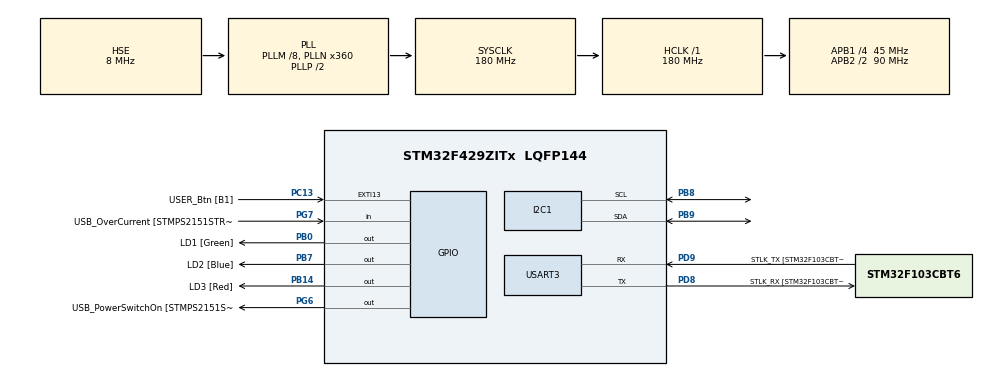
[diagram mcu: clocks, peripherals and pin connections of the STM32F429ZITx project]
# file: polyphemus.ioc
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Dma.I2C1_RX.2.Direction=DMA_PERIPH_TO_MEMORY
Dma.I2C1_RX.2.FIFOMode=DMA_FIFOMODE_DISABLE
Dma.I2C1_RX.2.Instance=DMA1_Stream0
Dma.I2C1_RX.2.MemDataAlignment=DMA_MDATAALIGN_BYTE
Dma.I2C1_RX.2.MemInc=DMA_MINC_ENABLE
Dma.I2C1_RX.2.Mode=DMA_NORMAL
Dma.I2C1_RX.2.PeriphDataAlignment=DMA_PDATAALIGN_BYTE
Dma.I2C1_RX.2.PeriphInc=DMA_PINC_DISABLE
Dma.I2C1_RX.2.Priority=DMA_PRIORITY_LOW
Dma.Request0=USART3_RX
Dma.Request1=USART3_TX
Dma.Request2=I2C1_RX
Dma.USART3_RX.0.Direction=DMA_PERIPH_TO_MEMORY
Dma.USART3_RX.0.FIFOMode=DMA_FIFOMODE_DISABLE
Dma.USART3_RX.0.Instance=DMA1_Stream1
Dma.USART3_RX.0.MemDataAlignment=DMA_MDATAALIGN_BYTE
Dma.USART3_RX.0.MemInc=DMA_MINC_ENABLE
Dma.USART3_RX.0.Mode=DMA_CIRCULAR
Dma.USART3_RX.0.PeriphDataAlignment=DMA_PDATAALIGN_BYTE
Dma.USART3_RX.0.PeriphInc=DMA_PINC_DISABLE
Dma.USART3_RX.0.Priority=DMA_PRIORITY_VERY_HIGH
Dma.USART3_TX.1.Direction=DMA_MEMORY_TO_PERIPH
Dma.USART3_TX.1.FIFOMode=DMA_FIFOMODE_DISABLE
Dma.USART3_TX.1.Instance=DMA1_Stream3
Dma.USART3_TX.1.MemDataAlignment=DMA_MDATAALIGN_BYTE
Dma.USART3_TX.1.MemInc=DMA_MINC_ENABLE
Dma.USART3_TX.1.Mode=DMA_NORMAL
Dma.USART3_TX.1.PeriphDataAlignment=DMA_PDATAALIGN_BYTE
Dma.USART3_TX.1.PeriphInc=DMA_PINC_DISABLE
Dma.USART3_TX.1.Priority=DMA_PRIORITY_VERY_HIGH
FREERTOS.Tasks01=defaultTask,24,3000,StartDefaultTask,Default,NULL,Static,defaultTaskBuffer,defaultTaskControlBlock
I2C1.I2C_Mode=I2C_Fast
Mcu.Family=STM32F4
Mcu.Name=STM32F429ZITx
Mcu.Package=LQFP144
NVIC.DMA1_Stream0_IRQn=true\:5\:0\:false\:false\:true\:true\:false\:true\:true
NVIC.DMA1_Stream1_IRQn=true\:5\:0\:false\:false\:true\:true\:false\:true\:true
NVIC.DMA1_Stream3_IRQn=true\:5\:0\:false\:false\:true\:true\:false\:true\:true
NVIC.PriorityGroup=NVIC_PRIORITYGROUP_4
NVIC.TIM1_UP_TIM10_IRQn=true\:15\:0\:false\:false\:true\:false\:false\:true\:true
NVIC.TimeBase=TIM1_UP_TIM10_IRQn
NVIC.TimeBaseIP=TIM1
NVIC.USART3_IRQn=true\:5\:0\:false\:false\:true\:true\:true\:true\:true
PA1.GPIO_Label=RMII_REF_CLK [LAN8742A-CZ-TR_REFCLK0]
PA1.Signal=ETH_REF_CLK
PA10.GPIO_Label=USB_ID
PA10.Signal=USB_OTG_FS_ID
PA11.GPIO_Label=USB_DM
PA11.Signal=USB_OTG_FS_DM
PA12.GPIO_Label=USB_DP
PA12.Signal=USB_OTG_FS_DP
PA13.GPIO_Label=TMS
PA13.Signal=SYS_JTMS-SWDIO
PA14.GPIO_Label=TCK
PA14.Signal=SYS_JTCK-SWCLK
PA2.GPIO_Label=RMII_MDIO [LAN8742A-CZ-TR_MDIO]
PA2.Signal=ETH_MDIO
PA7.GPIO_Label=RMII_CRS_DV [LAN8742A-CZ-TR_CRS_DV]
PA7.Signal=ETH_CRS_DV
PA8.GPIO_Label=USB_SOF [TP1]
PA8.Signal=USB_OTG_FS_SOF
PA9.GPIO_Label=USB_VBUS
PA9.Signal=USB_OTG_FS_VBUS
PB0.GPIO_Label=LD1 [Green]
PB0.Signal=GPIO_Output
PB13.GPIO_Label=RMII_TXD1 [LAN8742A-CZ-TR_TXD1]
PB13.Signal=ETH_TXD1
PB14.GPIO_Label=LD3 [Red]
PB14.Signal=GPIO_Output
PB7.GPIO_Label=LD2 [Blue]
PB7.Signal=GPIO_Output
PB8.Mode=I2C
PB8.Signal=I2C1_SCL
PB9.Mode=I2C
PB9.Signal=I2C1_SDA
PC1.GPIO_Label=RMII_MDC [LAN8742A-CZ-TR_MDC]
PC1.Signal=ETH_MDC
PC13.GPIO_Label=USER_Btn [B1]
PC13.Signal=GPXTI13
PC14/OSC32_IN.Signal=RCC_OSC32_IN
PC15/OSC32_OUT.Signal=RCC_OSC32_OUT
PC4.GPIO_Label=RMII_RXD0 [LAN8742A-CZ-TR_RXD0]
PC4.Signal=ETH_RXD0
PC5.GPIO_Label=RMII_RXD1 [LAN8742A-CZ-TR_RXD1]
PC5.Signal=ETH_RXD1
PD8.GPIO_Label=STLK_RX [STM32F103CBT6_PA3]
PD8.Mode=Asynchronous
PD8.Signal=USART3_TX
PD9.GPIO_Label=STLK_TX [STM32F103CBT6_PA2]
PD9.Mode=Asynchronous
PD9.Signal=USART3_RX
PG11.GPIO_Label=RMII_TX_EN [LAN8742A-CZ-TR_TXEN]
PG11.Signal=ETH_TX_EN
PG13.GPIO_Label=RMII_TXD0 [LAN8742A-CZ-TR_TXD0]
PG13.Signal=ETH_TXD0
PG6.GPIO_Label=USB_PowerSwitchOn [STMPS2151STR_EN]
PG6.Signal=GPIO_Output
PG7.GPIO_Label=USB_OverCurrent [STMPS2151STR_FAULT]
PG7.Signal=GPIO_Input
PH0/OSC_IN.GPIO_Label=MCO [STM32F103CBT6_PA8]
PH0/OSC_IN.Mode=HSE-External-Oscillator
PH0/OSC_IN.Signal=RCC_OSC_IN
PH1/OSC_OUT.Mode=HSE-External-Oscillator
PH1/OSC_OUT.Signal=RCC_OSC_OUT
ProjectManager.HeapSize=0x200
ProjectManager.StackSize=0x400
ProjectManager.TargetToolchain=Makefile
RCC.48MHZClocksFreq_Value=90000000
RCC.AHBFreq_Value=180000000
RCC.APB1CLKDivider=RCC_HCLK_DIV4
RCC.APB1Freq_Value=45000000
RCC.APB1TimFreq_Value=90000000
RCC.APB2CLKDivider=RCC_HCLK_DIV2
RCC.APB2Freq_Value=90000000
RCC.APB2TimFreq_Value=180000000
RCC.CortexFreq_Value=180000000
RCC.HCLKFreq_Value=180000000
RCC.HSE_VALUE=8000000
RCC.HSI_VALUE=16000000
RCC.LSE_VALUE=32768
RCC.PLLM=8
RCC.PLLMUL=RCC_PLL_MUL9
RCC.PLLN=360
RCC.PLLSourceVirtual=RCC_PLLSOURCE_HSE
RCC.PRESCALERUSB=RCC_USBCLKSOURCE_PLL_DIV1_5
RCC.SYSCLKFreq_VALUE=180000000
RCC.SYSCLKSource=RCC_SYSCLKSOURCE_PLLCLK
RCC.SYSCLKSourceVirtual=RCC_SYSCLKSOURCE_PLLCLK
RCC.USBFreq_Value=48000000
RCC.VCOOutputFreq_Value=360000000
USART3.VirtualMode=VM_ASYNC
VP_FREERTOS_VS_CMSIS_V2.Mode=CMSIS_V2
VP_SYS_VS_tim1.Mode=TIM1
board=NUCLEO-F429ZI

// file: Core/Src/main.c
/* USER CODE BEGIN Header */
/**
  ******************************************************************************
  * @file           : main.c
  * @brief          : Main program body
  ******************************************************************************
  * @attention
  *
  * Copyright (c) 2023 STMicroelectronics.
  * All rights reserved.
  *
  * This software is licensed under terms that can be found in the LICENSE file
  * in the root directory of this software component.
  * If no LICENSE file comes with this software, it is provided AS-IS.
  *
  ******************************************************************************
  */
/* USER CODE END Header */
#include "main.h"
#include "cmsis_os.h"
#include "dma.h"
#include "i2c.h"
#include "usart.h"
#include "gpio.h"

void SystemClock_Config(void);
void MX_FREERTOS_Init(void);

int main(void)
{

  /* MCU Configuration--------------------------------------------------------*/

  /* Reset of all peripherals, Initializes the Flash interface and the Systick. */
  HAL_Init();

  /* Configure the system clock */
  SystemClock_Config();

  /* Initialize all configured peripherals */
  MX_GPIO_Init();
  MX_DMA_Init();
  MX_USART3_UART_Init();
  MX_I2C1_Init();

  /* Init scheduler */
  osKernelInitialize();  /* Call init function for freertos objects (in freertos.c) */
  MX_FREERTOS_Init();

  /* Start scheduler */
  osKernelStart();

  /* We should never get here as control is now taken by the scheduler */
  /* Infinite loop */
  while (1)
  {

  }
}

void SystemClock_Config(void)
{
  RCC_OscInitTypeDef RCC_OscInitStruct = {0};
  RCC_ClkInitTypeDef RCC_ClkInitStruct = {0};

  /** Configure the main internal regulator output voltage
  */
  __HAL_RCC_PWR_CLK_ENABLE();
  __HAL_PWR_VOLTAGESCALING_CONFIG(PWR_REGULATOR_VOLTAGE_SCALE1);

  /** Initializes the RCC Oscillators according to the specified parameters
  * in the RCC_OscInitTypeDef structure.
  */
  RCC_OscInitStruct.OscillatorType = RCC_OSCILLATORTYPE_HSE;
  RCC_OscInitStruct.HSEState = RCC_HSE_ON;
  RCC_OscInitStruct.PLL.PLLState = RCC_PLL_ON;
  RCC_OscInitStruct.PLL.PLLSource = RCC_PLLSOURCE_HSE;
  RCC_OscInitStruct.PLL.PLLM = 8;
  RCC_OscInitStruct.PLL.PLLN = 360;
  RCC_OscInitStruct.PLL.PLLP = RCC_PLLP_DIV2;
  RCC_OscInitStruct.PLL.PLLQ = 4;
  if (HAL_RCC_OscConfig(&RCC_OscInitStruct) != HAL_OK)
  {
    Error_Handler();
  }

  /** Activate the Over-Drive mode
  */
  if (HAL_PWREx_EnableOverDrive() != HAL_OK)
  {
    Error_Handler();
  }

  /** Initializes the CPU, AHB and APB buses clocks
  */
  RCC_ClkInitStruct.ClockType = RCC_CLOCKTYPE_HCLK|RCC_CLOCKTYPE_SYSCLK
                              |RCC_CLOCKTYPE_PCLK1|RCC_CLOCKTYPE_PCLK2;
  RCC_ClkInitStruct.SYSCLKSource = RCC_SYSCLKSOURCE_PLLCLK;
  RCC_ClkInitStruct.AHBCLKDivider = RCC_SYSCLK_DIV1;
  RCC_ClkInitStruct.APB1CLKDivider = RCC_HCLK_DIV4;
  RCC_ClkInitStruct.APB2CLKDivider = RCC_HCLK_DIV2;

  if (HAL_RCC_ClockConfig(&RCC_ClkInitStruct, FLASH_LATENCY_5) != HAL_OK)
  {
    Error_Handler();
  }
}

void HAL_TIM_PeriodElapsedCallback(TIM_HandleTypeDef *htim)
{
  if (htim->Instance == TIM1) {
    HAL_IncTick();
  }
}

void Error_Handler(void)
{
  __disable_irq();
  while (1)
  {
  }
}

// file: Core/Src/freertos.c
/* USER CODE BEGIN Header */
/**
 ******************************************************************************
 * File Name          : freertos.c
 * Description        : Code for freertos applications
 ******************************************************************************
 * @attention
 *
 * Copyright (c) 2023 STMicroelectronics.
 * All rights reserved.
 *
 * This software is licensed under terms that can be found in the LICENSE file
 * in the root directory of this software component.
 * If no LICENSE file comes with this software, it is provided AS-IS.
 *
 ******************************************************************************
 */
/* USER CODE END Header */

#include "FreeRTOS.h"
#include "cmsis_os.h"
#include "main.h"
#include "task.h"

/* USER CODE BEGIN Includes */
#include <rcl/error_handling.h>
#include <rcl/rcl.h>
#include <rclc/executor.h>
#include <rclc/rclc.h>
#include <rmw_microros/rmw_microros.h>
#include <rmw_microxrcedds_c/config.h>
#include <uxr/client/transport.h>

#include <std_msgs/msg/int32.h>

#include "usart.h"

#include "mpu6050.h"
/* USER CODE END Includes */

typedef StaticTask_t osStaticThreadDef_t;

/* USER CODE BEGIN Variables */
extern I2C_HandleTypeDef hi2c1;
mpu6050_t hmpu; /*!> Driver MPU6050 */

bool cubemx_transport_open(struct uxrCustomTransport *transport);
bool cubemx_transport_close(struct uxrCustomTransport *transport);
size_t cubemx_transport_write(struct uxrCustomTransport *transport, const uint8_t *buf, size_t len, uint8_t *err);
size_t cubemx_transport_read(struct uxrCustomTransport *transport, uint8_t *buf, size_t len, int timeout, uint8_t *err);

void *microros_allocate(size_t size, void *state);
void microros_deallocate(void *pointer, void *state);
void *microros_reallocate(void *pointer, size_t size, void *state);
void *microros_zero_allocate(size_t number_of_elements, size_t size_of_element, void *state);
/* USER CODE END Variables */
/* Definitions for defaultTask */
osThreadId_t defaultTaskHandle;
uint32_t defaultTaskBuffer[3000];
osStaticThreadDef_t defaultTaskControlBlock;
const osThreadAttr_t defaultTask_attributes = {
    .name = "defaultTask",
    .cb_mem = &defaultTaskControlBlock,
    .cb_size = sizeof(defaultTaskControlBlock),
    .stack_mem = &defaultTaskBuffer[0],
    .stack_size = sizeof(defaultTaskBuffer),
    .priority = (osPriority_t)osPriorityNormal,
};

void StartDefaultTask(void *argument);

void MX_FREERTOS_Init(void); /* (MISRA C 2004 rule 8.1) */

void MX_FREERTOS_Init(void)
{
  /* USER CODE BEGIN Init */
  defaultTaskHandle = osThreadNew(StartDefaultTask, NULL, &defaultTask_attributes);
  /* USER CODE END Init */
  /* USER CODE BEGIN Header */
  /**
   ******************************************************************************
   * File Name          : freertos.c
   * Description        : Code for freertos applications
   ******************************************************************************
   * @attention
   *
   * Copyright (c) 2023 STMicroelectronics.
   * All rights reserved.
   *
   * This software is licensed under terms that can be found in the LICENSE file
   * in the root directory of this software component.
   * If no LICENSE file comes with this software, it is provided AS-IS.
   *
   ******************************************************************************
   */
  /* USER CODE END Header */

  /**
   * @}
   */

  /**
   * @}
   */
}

void StartDefaultTask(void *argument)
{
  /* USER CODE BEGIN StartDefaultTask */
  /* Infinite loop */
  /* micro-ROS configuration */

  rmw_uros_set_custom_transport(
      true,
      (void *)&huart3,
      cubemx_transport_open,
      cubemx_transport_close,
      cubemx_transport_write,
      cubemx_transport_read);

  rcl_allocator_t freeRTOS_allocator = rcutils_get_zero_initialized_allocator();
  freeRTOS_allocator.allocate = microros_allocate;
  freeRTOS_allocator.deallocate = microros_deallocate;
  freeRTOS_allocator.reallocate = microros_reallocate;
  freeRTOS_allocator.zero_allocate = microros_zero_allocate;

  if (!rcutils_set_default_allocator(&freeRTOS_allocator))
  {
    printf("Error on default allocators (line %d)\n", __LINE__);
  }

  // micro-ROS app

  rcl_publisher_t publisher;
  std_msgs__msg__Int32 msg;
  rclc_support_t support;
  rcl_allocator_t allocator;
  rcl_node_t node;

  allocator = rcl_get_default_allocator();

  // create init_options
  rclc_support_init(&support, 0, NULL, &allocator);

  // create node
  rclc_node_init_default(&node, "cubemx_node", "", &support);

  // create publisher
  rclc_publisher_init_default(
      &publisher,
      &node,
      ROSIDL_GET_MSG_TYPE_SUPPORT(std_msgs, msg, Int32),
      "cubemx_publisher");

  mpu6050_init(&hmpu, (void *)&hi2c1);
  msg.data = 0;

  mpu6050_status_t mpu_status;

  uint16_t gyroX, gyroY, gyroZ;
  mpu6050_reset_pwrmgmt(&hmpu);

  for (;;)
  {
    // mpu_status = mpu6050_sanity_check(&hmpu);
    mpu_status = mpu6050_gyro_read_raw(&hmpu, &gyroX, &gyroY, &gyroZ);
    if (mpu_status == MPU6050_OK)
    {
      msg.data = (int32_t)gyroX;
    }
    rcl_ret_t ret = rcl_publish(&publisher, &msg, NULL);
    if (ret != RCL_RET_OK)
    {
      printf("Error publishing (line %d)\n", __LINE__);
    }

    // msg.data++;
    osDelay(200);
  }
  /* USER CODE END StartDefaultTask */
}
